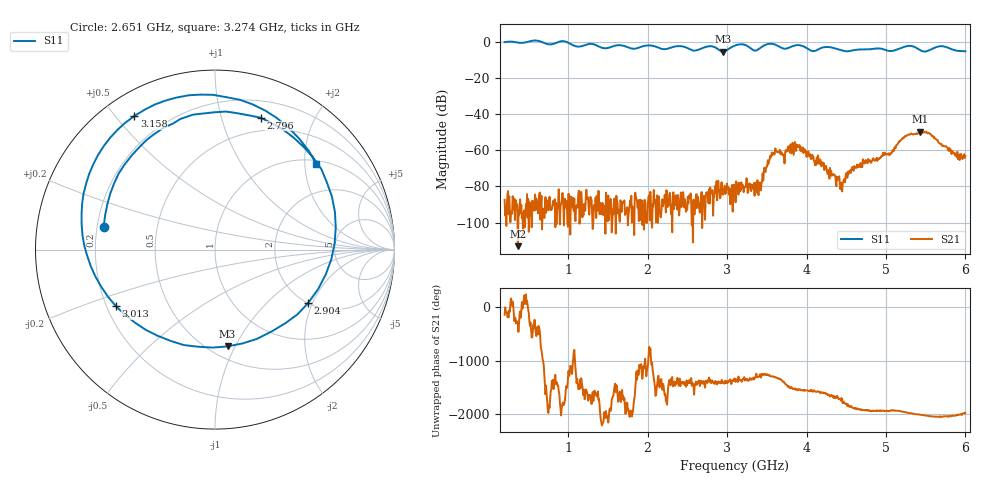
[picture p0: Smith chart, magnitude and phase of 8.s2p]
! NanoVNA-App
! Date: 2024-06-25 16:04:11
! Start: 200MHz Stop: 6GHz Points: 801
! S-Parameter data: F S11 S21 S12 S22
# Hz S RI R 50
!  Frequency  S11_Real  S11_Imag  S21_Real  S21_Imag  S12_Real  S12_Imag  S22_Real  S22_Imag
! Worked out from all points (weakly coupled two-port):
!   801 points, 200 MHz to 6 GHz, reference 50 ohm
!   highest |S21| = -49.57 dB at 5.434 GHz (marker M1); lowest = -113.1 dB at 366.8 MHz (marker M2)
!   lowest |S11| = -5.3 dB at 2.948 GHz (marker M3), VSWR 3.39, Z = 30.5 - j46.7 ohm
!   |S11| at or under -10 dB: nowhere
!   S12 and S22 are empty: the file has one direction only
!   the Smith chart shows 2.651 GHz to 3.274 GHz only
!   S11 on the Smith chart (normalised r, x): 2.651 GHz: 0.23, +0.09; 2.796 GHz: 0.36, +1.34; 2.904 GHz: 2.00, -1.86; 3.013 GHz: 0.24, -0.25; 3.158 GHz: 0.09, +0.56; 3.274 GHz: 1.09, +2.28
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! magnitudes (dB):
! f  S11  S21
! 200 MHz  0.0  -87.4
! 366.8 MHz  -0.2  -113.1
! 1.171 GHz  -2.2  -87.9
! 2.136 GHz  -3.0  -92.9
! 2.651 GHz  -4.0  -92.3
! 2.796 GHz  -2.2  -84.1
! 2.904 GHz  -4.5  -81.9
! 2.948 GHz  -5.3  -84.6
! 3.013 GHz  -3.9  -81.7
! 3.1 GHz  -1.9  -81.8
! 3.158 GHz  -1.2  -82.9
! 3.274 GHz  -2.6  -80.6
! 3.412 GHz  -3.4  -77.8
! 3.542 GHz  -0.8  -63.0
! 3.636 GHz  -2.0  -61.1
! 3.883 GHz  -1.6  -57.2
! 4.072 GHz  -4.9  -62.3
! 4.449 GHz  -4.6  -82.8
! 4.593 GHz  -4.4  -71.3
! 5.036 GHz  -4.8  -61.6
! 5.434 GHz  -4.5  -49.6
! 6 GHz  -5.0  -63.1
